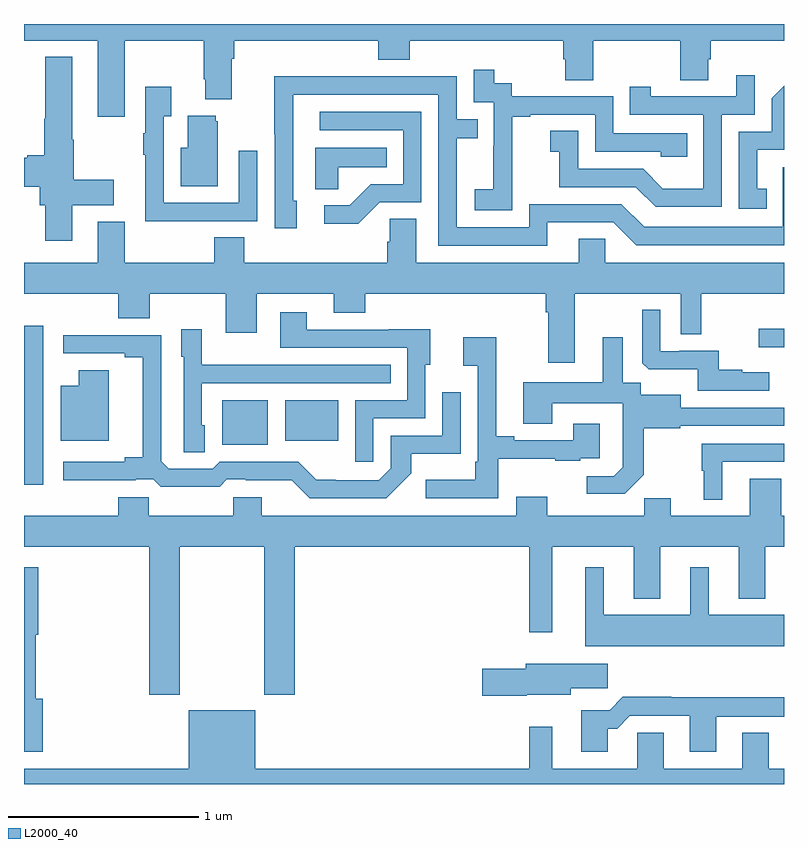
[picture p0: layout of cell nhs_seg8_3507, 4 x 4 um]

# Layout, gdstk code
import gdstk
lib = gdstk.Library(unit=1e-6, precision=1e-09)
def R(c, l, rs):  # rectangles x0, y0, x1, y1
    for r in rs: c.add(gdstk.rectangle(r[:2], r[2:], *l))
def P(c, l, *ps):  # polygons
    for p in ps: c.add(gdstk.Polygon(p, *l))
L2000_40 = (2000, 40)

nhs_seg8_3507 = lib.new_cell('nhs_seg8_3507')
R(nhs_seg8_3507, L2000_40, [(327,1135.476,327.1,1136.311), (328.043,1135.685,328.282,1135.921), (328.376,1135.706,328.654,1135.921), (330.867,1136.198,331,1136.297)])
P(nhs_seg8_3507, L2000_40, [(327,1137.812),(327.389,1137.812),(327.389,1137.411),(327.529,1137.411),(327.529,1137.812),(327.946,1137.812),(327.946,1137.61),(327.953,1137.61),(327.953,1137.503),(328.093,1137.503),(328.093,1137.716),(328.106,1137.716),(328.106,1137.812),(328.865,1137.812),(328.865,1137.713),(329.03,1137.713),(329.03,1137.812),(329.837,1137.812),(329.837,1137.714),(329.849,1137.714),(329.849,1137.604),(329.997,1137.604),(329.997,1137.812),(330.454,1137.812),(330.454,1137.604),(330.601,1137.604),(330.601,1137.714),(330.614,1137.714),(330.614,1137.812),(331,1137.812),(331,1137.9),(327,1137.9)],
  [(327.253,1136.945),(327.472,1136.945),(327.472,1137.08),(327.261,1137.08),(327.261,1137.292),(327.253,1137.292),(327.253,1137.727),(327.113,1137.727),(327.113,1137.401),(327.106,1137.401),(327.106,1137.209),(327.017,1137.209),(327.017,1137.196),(327,1137.196),(327,1137.044),(327.083,1137.044),(327.083,1136.945),(327.113,1136.945),(327.113,1136.76),(327.253,1136.76)],
  [(329.571,1137.127),(329.57,1137.127),(329.57,1137.411),(329.665,1137.411),(329.665,1137.423),(330.006,1137.423),(330.006,1137.228),(330.351,1137.228),(330.351,1137.201),(330.491,1137.201),(330.491,1137.324),(330.102,1137.324),(330.102,1137.519),(329.568,1137.519),(329.568,1137.588),(329.476,1137.588),(329.476,1137.658),(329.367,1137.658),(329.367,1137.489),(329.472,1137.489),(329.472,1137.26),(329.471,1137.26),(329.471,1137.031),(329.373,1137.031),(329.373,1136.921),(329.571,1136.921)],
  [(330.672,1137.423),(330.846,1137.423),(330.846,1137.631),(330.749,1137.631),(330.749,1137.519),(330.298,1137.519),(330.298,1137.571),(330.187,1137.571),(330.187,1137.423),(330.576,1137.423),(330.576,1137.034),(330.362,1137.034),(330.258,1137.138),(329.916,1137.138),(329.916,1137.337),(329.769,1137.337),(329.769,1137.227),(329.818,1137.227),(329.818,1137.042),(330.221,1137.042),(330.326,1136.937),(330.672,1136.937)],
  [(329.755,1136.856),(330.102,1136.856),(330.222,1136.736),(331,1136.736),(331,1137.147),(330.993,1137.147),(330.993,1136.832),(330.264,1136.832),(330.144,1136.952),(329.658,1136.952),(329.658,1136.829),(329.277,1136.829),(329.277,1137.298),(329.387,1137.298),(329.387,1137.399),(329.277,1137.399),(329.277,1137.624),(328.781,1137.624),(328.781,1137.626),(328.318,1137.626),(328.318,1137.319),(328.32,1137.319),(328.32,1136.826),(328.435,1136.826),(328.435,1136.97),(328.416,1136.97),(328.416,1137.528),(329.181,1137.528),(329.181,1136.733),(329.755,1136.733)],
  [(330.908,1137.033),(330.859,1137.033),(330.859,1137.237),(331,1137.237),(331,1137.574),(330.936,1137.51),(330.936,1137.333),(330.762,1137.333),(330.762,1136.928),(330.908,1136.928)],
  [(327.911,1136.862),(328.227,1136.862),(328.227,1137.232),(328.131,1137.232),(328.131,1136.958),(327.735,1136.958),(327.735,1137.415),(327.775,1137.415),(327.775,1137.571),(327.639,1137.571),(327.639,1137.326),(327.627,1137.326),(327.627,1137.212),(327.638,1137.212),(327.638,1136.861),(327.911,1136.861)],
  [(328.872,1136.961),(329.091,1136.961),(329.091,1137.438),(328.557,1137.438),(328.557,1137.342),(328.995,1137.342),(328.995,1137.057),(328.826,1137.057),(328.715,1136.946),(328.581,1136.946),(328.581,1136.849),(328.759,1136.849)],
  [(328.021,1137.387),(328.01,1137.387),(328.01,1137.418),(327.863,1137.418),(327.863,1137.25),(327.824,1137.25),(327.824,1137.047),(328.021,1137.047)],
  [(328.653,1137.146),(328.91,1137.146),(328.91,1137.25),(328.532,1137.25),(328.532,1137.031),(328.653,1137.031)],
  [(329.899,1136.48),(330.456,1136.48),(330.456,1136.266),(330.565,1136.266),(330.565,1136.48),(331,1136.48),(331,1136.644),(330.06,1136.644),(330.06,1136.771),(329.921,1136.771),(329.921,1136.644),(329.065,1136.644),(329.065,1136.876),(328.926,1136.876),(328.926,1136.753),(328.913,1136.753),(328.913,1136.644),(328.16,1136.644),(328.16,1136.777),(328,1136.777),(328,1136.644),(327.529,1136.644),(327.529,1136.86),(327.389,1136.86),(327.389,1136.644),(327,1136.644),(327,1136.48),(327.497,1136.48),(327.497,1136.352),(327.661,1136.352),(327.661,1136.48),(328.061,1136.48),(328.061,1136.274),(328.225,1136.274),(328.225,1136.48),(328.631,1136.48),(328.631,1136.381),(328.795,1136.381),(328.795,1136.48),(329.747,1136.48),(329.747,1136.384),(329.759,1136.384),(329.759,1136.118),(329.899,1136.118)],
  [(330.923,1136.068),(330.779,1136.068),(330.779,1136.08),(330.656,1136.08),(330.656,1136.181),(330.448,1136.181),(330.448,1136.178),(330.348,1136.178),(330.348,1136.395),(330.255,1136.395),(330.255,1136.115),(330.287,1136.084),(330.546,1136.084),(330.546,1135.971),(330.923,1135.971)],
  [(328.839,1135.824),(329.112,1135.824),(329.112,1136.106),(329.137,1136.106),(329.137,1136.294),(328.919,1136.294),(328.919,1136.292),(328.489,1136.292),(328.489,1136.383),(328.349,1136.383),(328.349,1136.196),(329.016,1136.196),(329.016,1135.92),(328.743,1135.92),(328.743,1135.596),(328.839,1135.596)],
  [(327.952,1135.788),(327.936,1135.788),(327.936,1136.01),(328.931,1136.01),(328.931,1136.106),(328.253,1136.106),(328.253,1136.107),(327.936,1136.107),(327.936,1136.293),(327.827,1136.293),(327.827,1136.148),(327.84,1136.148),(327.84,1135.645),(327.952,1135.645)],
  [(329.037,1135.535),(329.037,1135.637),(329.298,1135.637),(329.298,1135.963),(329.202,1135.963),(329.202,1135.734),(328.929,1135.734),(328.929,1135.563),(328.866,1135.5),(328.642,1135.5),(328.642,1135.502),(328.538,1135.502),(328.443,1135.596),(328.029,1135.596),(327.993,1135.56),(327.762,1135.56),(327.723,1135.599),(327.723,1136.262),(327.207,1136.262),(327.207,1136.166),(327.53,1136.166),(327.53,1136.146),(327.626,1136.146),(327.626,1135.619),(327.53,1135.619),(327.53,1135.596),(327.207,1135.596),(327.207,1135.499),(327.587,1135.499),(327.587,1135.503),(327.681,1135.503),(327.721,1135.464),(328.029,1135.464),(328.068,1135.503),(328.168,1135.503),(328.168,1135.499),(328.409,1135.499),(328.503,1135.404),(328.906,1135.404)],
  [(330.261,1135.527),(330.261,1135.773),(330.453,1135.773),(330.453,1135.785),(331,1135.785),(331,1135.881),(330.457,1135.881),(330.457,1135.948),(330.246,1135.948),(330.246,1136.012),(330.151,1136.012),(330.151,1136.251),(330.047,1136.251),(330.047,1136.014),(329.627,1136.014),(329.627,1135.795),(329.779,1135.795),(329.779,1135.904),(330.15,1135.904),(330.15,1135.663),(330.152,1135.663),(330.152,1135.568),(330.105,1135.521),(329.961,1135.521),(329.961,1135.427),(330.161,1135.427)],
  [(329.497,1135.613),(329.795,1135.613),(329.795,1135.602),(329.927,1135.602),(329.927,1135.614),(330.031,1135.614),(330.031,1135.795),(329.891,1135.795),(329.891,1135.71),(329.581,1135.71),(329.581,1135.729),(329.485,1135.729),(329.485,1136.251),(329.313,1136.251),(329.313,1136.102),(329.388,1136.102),(329.388,1135.597),(329.376,1135.597),(329.376,1135.501),(329.115,1135.501),(329.115,1135.404),(329.497,1135.404)],
  [(327.445,1136.077),(327.287,1136.077),(327.287,1135.996),(327.194,1135.996),(327.194,1135.706),(327.445,1135.706)],
  [(330.676,1135.596),(331,1135.596),(331,1135.692),(330.567,1135.692),(330.567,1135.548),(330.578,1135.548),(330.578,1135.397),(330.676,1135.397)],
  [(330.761,1134.875),(330.901,1134.875),(330.901,1135.148),(331,1135.148),(331,1135.312),(330.985,1135.312),(330.985,1135.507),(330.821,1135.507),(330.821,1135.312),(330.403,1135.312),(330.403,1135.403),(330.265,1135.403),(330.265,1135.312),(329.755,1135.312),(329.755,1135.411),(329.591,1135.411),(329.591,1135.312),(328.252,1135.312),(328.252,1135.41),(328.102,1135.41),(328.102,1135.312),(327.657,1135.312),(327.657,1135.41),(327.497,1135.41),(327.497,1135.312),(327,1135.312),(327,1135.148),(327.659,1135.148),(327.659,1134.369),(327.819,1134.369),(327.819,1135.148),(328.264,1135.148),(328.264,1134.369),(328.424,1134.369),(328.424,1135.148),(329.658,1135.148),(329.658,1134.699),(329.779,1134.699),(329.779,1135.148),(330.209,1135.148),(330.209,1134.875),(330.349,1134.875),(330.349,1135.148),(330.761,1135.148)],
  [(327.098,1134.348),(327.061,1134.348),(327.061,1134.686),(327.074,1134.686),(327.074,1135.042),(327,1135.042),(327,1134.069),(327.098,1134.069)],
  [(331,1134.79),(330.604,1134.79),(330.604,1135.042),(330.506,1135.042),(330.506,1134.79),(330.052,1134.79),(330.052,1135.042),(329.954,1135.042),(329.954,1134.626),(331,1134.626)],
  [(329.646,1134.371),(329.878,1134.371),(329.878,1134.403),(330.073,1134.403),(330.073,1134.532),(329.642,1134.532),(329.642,1134.506),(329.412,1134.506),(329.412,1134.364),(329.646,1134.364)],
  [(330.073,1134.191),(330.122,1134.191),(330.189,1134.258),(330.503,1134.258),(330.503,1134.069),(330.643,1134.069),(330.643,1134.255),(331,1134.255),(331,1134.356),(330.407,1134.356),(330.407,1134.359),(330.152,1134.359),(330.082,1134.289),(329.933,1134.289),(329.933,1134.069),(330.073,1134.069)],
  [(331,1133.98),(330.919,1133.98),(330.919,1134.17),(330.779,1134.17),(330.779,1133.98),(330.367,1133.98),(330.367,1134.17),(330.228,1134.17),(330.228,1133.98),(329.779,1133.98),(329.779,1134.202),(329.658,1134.202),(329.658,1133.98),(328.216,1133.98),(328.216,1134.289),(327.866,1134.289),(327.866,1133.98),(327,1133.98),(327,1133.9),(331,1133.9)])

lib.write_gds('nhs_seg8_3507.gds')
